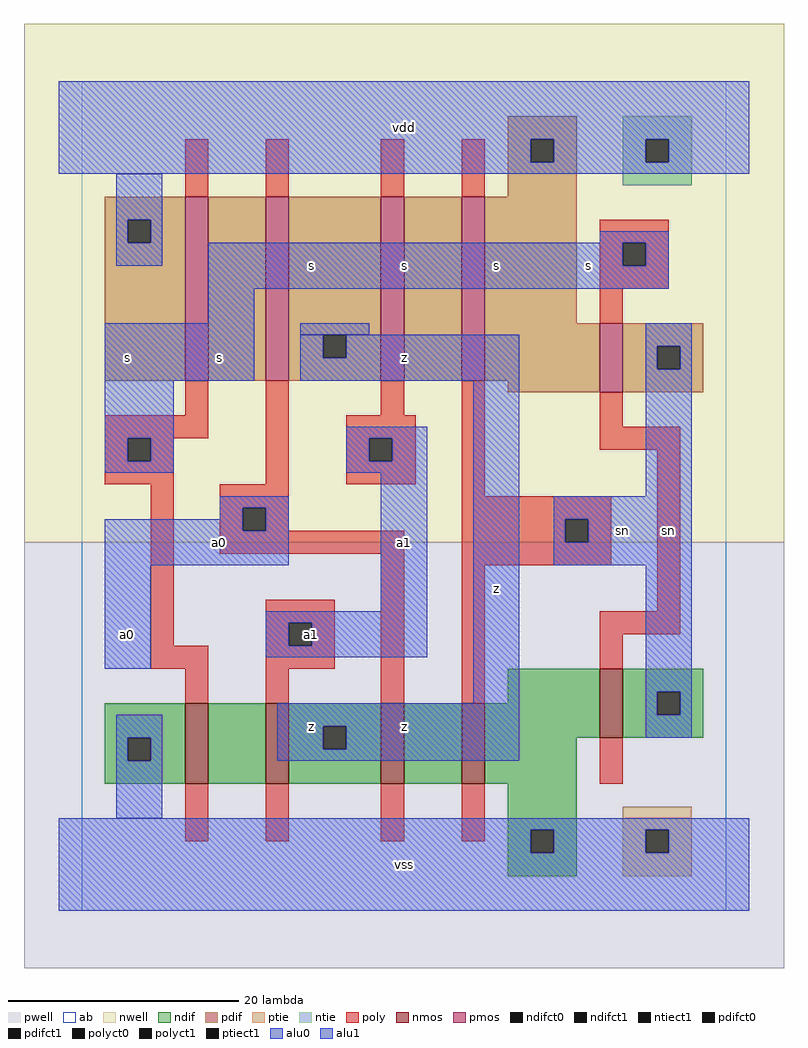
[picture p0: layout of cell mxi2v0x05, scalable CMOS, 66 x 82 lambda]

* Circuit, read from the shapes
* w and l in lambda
.subckt mxi2v0x05 a0 a1 s sn vdd vss z
M1 n1 s vss vss nfet w=7 l=2
M2 z a1 n1 vss nfet w=7 l=2
M3 n2 a0 z vss nfet w=7 l=2
M4 vss sn n2 vss nfet w=7 l=2
M5 sn s vss vss nfet w=6 l=2
M6 n3 s vdd vdd pfet w=16 l=2
M7 z a0 n3 vdd pfet w=16 l=2
M8 n4 a1 z vdd pfet w=16 l=2
M9 vdd sn n4 vdd pfet w=16 l=2
M10 sn s vdd vdd pfet w=6 l=2
.ends

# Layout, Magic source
magic
tech scmos
<< ab >>
rect 0 0 56 72
<< nwell >>
rect -5 32 61 77
<< pwell >>
rect -5 -5 61 32
<< poly >>
rect 9 62 11 67
rect 16 62 18 67
rect 26 62 28 67
rect 33 62 35 67
rect 45 58 51 60
rect 45 56 47 58
rect 49 56 51 58
rect 45 54 51 56
rect 45 51 47 54
rect 9 43 11 46
rect 2 41 11 43
rect 2 39 4 41
rect 6 39 8 41
rect 2 37 8 39
rect 16 37 18 46
rect 26 43 28 46
rect 23 41 29 43
rect 23 39 25 41
rect 27 39 29 41
rect 23 37 29 39
rect 6 23 8 37
rect 12 35 18 37
rect 12 33 14 35
rect 16 33 18 35
rect 33 36 35 46
rect 45 42 47 45
rect 45 40 52 42
rect 33 34 46 36
rect 12 31 28 33
rect 16 25 22 27
rect 16 23 18 25
rect 20 23 22 25
rect 6 21 11 23
rect 9 18 11 21
rect 16 21 22 23
rect 16 18 18 21
rect 26 18 28 31
rect 33 32 42 34
rect 44 32 46 34
rect 33 30 46 32
rect 33 18 35 30
rect 50 26 52 40
rect 45 24 52 26
rect 45 21 47 24
rect 45 11 47 15
rect 9 6 11 11
rect 16 6 18 11
rect 26 6 28 11
rect 33 6 35 11
<< ndif >>
rect 37 18 45 21
rect 2 15 9 18
rect 2 13 4 15
rect 6 13 9 15
rect 2 11 9 13
rect 11 11 16 18
rect 18 16 26 18
rect 18 14 21 16
rect 23 14 26 16
rect 18 11 26 14
rect 28 11 33 18
rect 35 15 45 18
rect 47 19 54 21
rect 47 17 50 19
rect 52 17 54 19
rect 47 15 54 17
rect 35 11 43 15
rect 37 7 43 11
rect 37 5 39 7
rect 41 5 43 7
rect 37 3 43 5
<< pdif >>
rect 37 67 43 69
rect 37 65 39 67
rect 41 65 43 67
rect 37 62 43 65
rect 2 60 9 62
rect 2 58 4 60
rect 6 58 9 60
rect 2 46 9 58
rect 11 46 16 62
rect 18 50 26 62
rect 18 48 21 50
rect 23 48 26 50
rect 18 46 26 48
rect 28 46 33 62
rect 35 51 43 62
rect 35 46 45 51
rect 37 45 45 46
rect 47 49 54 51
rect 47 47 50 49
rect 52 47 54 49
rect 47 45 54 47
<< alu1 >>
rect -2 67 58 72
rect -2 65 39 67
rect 41 65 49 67
rect 51 65 58 67
rect -2 64 58 65
rect 45 58 51 59
rect 11 56 47 58
rect 49 56 51 58
rect 11 54 51 56
rect 11 51 15 54
rect 2 46 15 51
rect 19 48 21 50
rect 23 48 38 50
rect 19 46 38 48
rect 2 41 8 46
rect 2 39 4 41
rect 6 39 8 41
rect 2 38 8 39
rect 23 41 30 42
rect 23 39 25 41
rect 27 39 30 41
rect 23 38 30 39
rect 12 35 18 36
rect 12 34 14 35
rect 2 33 14 34
rect 16 33 18 35
rect 2 30 18 33
rect 2 21 6 30
rect 26 26 30 38
rect 16 25 30 26
rect 16 23 18 25
rect 20 23 30 25
rect 16 22 30 23
rect 34 18 38 46
rect 17 16 38 18
rect 17 14 21 16
rect 23 14 38 16
rect 17 13 38 14
rect -2 7 58 8
rect -2 5 39 7
rect 41 5 49 7
rect 51 5 58 7
rect -2 0 58 5
<< ptie >>
rect 47 7 53 9
rect 47 5 49 7
rect 51 5 53 7
rect 47 3 53 5
<< ntie >>
rect 47 67 53 69
rect 47 65 49 67
rect 51 65 53 67
rect 47 63 53 65
<< nmos >>
rect 9 11 11 18
rect 16 11 18 18
rect 26 11 28 18
rect 33 11 35 18
rect 45 15 47 21
<< pmos >>
rect 9 46 11 62
rect 16 46 18 62
rect 26 46 28 62
rect 33 46 35 62
rect 45 45 47 51
<< polyct0 >>
rect 42 32 44 34
<< polyct1 >>
rect 47 56 49 58
rect 4 39 6 41
rect 25 39 27 41
rect 14 33 16 35
rect 18 23 20 25
<< ndifct0 >>
rect 4 13 6 15
rect 50 17 52 19
<< ndifct1 >>
rect 21 14 23 16
rect 39 5 41 7
<< ntiect1 >>
rect 49 65 51 67
<< ptiect1 >>
rect 49 5 51 7
<< pdifct0 >>
rect 4 58 6 60
rect 50 47 52 49
<< pdifct1 >>
rect 39 65 41 67
rect 21 48 23 50
<< alu0 >>
rect 3 60 7 64
rect 3 58 4 60
rect 6 58 7 60
rect 3 56 7 58
rect 19 50 25 51
rect 49 49 53 51
rect 49 47 50 49
rect 52 47 53 49
rect 49 36 53 47
rect 41 34 53 36
rect 41 32 42 34
rect 44 32 53 34
rect 41 30 53 32
rect 3 15 7 17
rect 3 13 4 15
rect 6 13 7 15
rect 49 19 53 30
rect 49 17 50 19
rect 52 17 53 19
rect 49 15 53 17
rect 3 8 7 13
<< labels >>
rlabel alu0 47 33 47 33 6 sn
rlabel alu0 51 33 51 33 6 sn
rlabel alu1 4 24 4 24 6 a0
rlabel alu1 4 48 4 48 6 s
rlabel alu1 20 16 20 16 6 z
rlabel alu1 12 32 12 32 6 a0
rlabel alu1 20 24 20 24 6 a1
rlabel alu1 12 48 12 48 6 s
rlabel alu1 20 56 20 56 6 s
rlabel alu1 28 4 28 4 6 vss
rlabel alu1 28 16 28 16 6 z
rlabel alu1 28 32 28 32 6 a1
rlabel alu1 36 28 36 28 6 z
rlabel alu1 28 48 28 48 6 z
rlabel alu1 36 56 36 56 6 s
rlabel alu1 28 56 28 56 6 s
rlabel alu1 28 68 28 68 6 vdd
rlabel alu1 44 56 44 56 6 s
<< end >>
